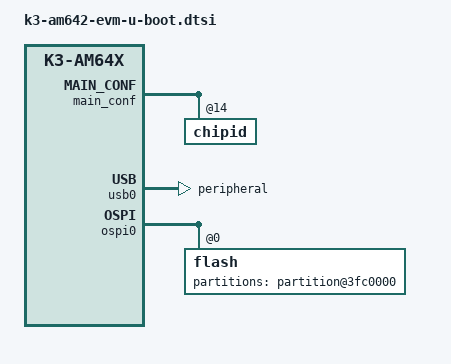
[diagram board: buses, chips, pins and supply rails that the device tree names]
// SPDX-License-Identifier: GPL-2.0
/*
 * Copyright (C) 2020-2021 Texas Instruments Incorporated - https://www.ti.com/
 */

#include "k3-am64x-binman.dtsi"

/ {
	chosen {
		stdout-path = "serial2:115200n8";
		tick-timer = &timer1;
	};

	memory@80000000 {
		bootph-pre-ram;
	};
};

&cbass_main{
	bootph-pre-ram;
	timer1: timer@2400000 {
		compatible = "ti,omap5430-timer";
		reg = <0x0 0x2400000 0x0 0x80>;
		ti,timer-alwon;
		clock-frequency = <200000000>;
		bootph-pre-ram;
	};
};

&main_conf {
	bootph-pre-ram;
	chipid@14 {
		bootph-pre-ram;
	};
};

&main_pmx0 {
	bootph-pre-ram;
};

&main_i2c0_pins_default {
	bootph-pre-ram;
};

&main_i2c0 {
	bootph-pre-ram;
};

&tca9554 {
	bootph-pre-ram;
};

&main_uart0 {
	bootph-pre-ram;
};

&usb0 {
	dr_mode="peripheral";
	bootph-pre-ram;
};

&usbss0 {
	bootph-pre-ram;
};

&main_mmc1_pins_default {
	bootph-pre-ram;
};

&main_usb0_pins_default {
	bootph-pre-ram;
};

&dmss {
	bootph-pre-ram;
};

&secure_proxy_main {
	bootph-pre-ram;
};

&dmsc {
	bootph-pre-ram;
	k3_sysreset: sysreset-controller {
		compatible = "ti,sci-sysreset";
		bootph-pre-ram;
	};
};

&k3_pds {
	bootph-pre-ram;
};

&k3_clks {
	bootph-pre-ram;
};

&k3_reset {
	bootph-pre-ram;
};

&sdhci0 {
	bootph-pre-ram;
};

&sdhci1 {
	bootph-pre-ram;
};

&cpsw3g {
	reg = <0x0 0x8000000 0x0 0x200000>,
	      <0x0 0x43000200 0x0 0x8>;
	reg-names = "cpsw_nuss", "mac_efuse";
	/delete-property/ ranges;
	pinctrl-0 = <&mdio1_pins_default	/* HACK: as MDIO driver is not DM enabled */
		     &rgmii1_pins_default
		     &rgmii2_pins_default>;

	cpsw-phy-sel@04044 {
		compatible = "ti,am64-phy-gmii-sel";
		reg = <0x0 0x43004044 0x0 0x8>;
	};
};

&cpsw_port2 {
	status = "disabled";
};

&main_bcdma {
	bootph-pre-ram;
	reg = <0x00 0x485c0100 0x00 0x100>,
	      <0x00 0x4c000000 0x00 0x20000>,
	      <0x00 0x4a820000 0x00 0x20000>,
	      <0x00 0x4aa40000 0x00 0x20000>,
	      <0x00 0x4bc00000 0x00 0x100000>,
	      <0x00 0x48600000 0x00 0x8000>,
	      <0x00 0x484a4000 0x00 0x2000>,
	      <0x00 0x484c2000 0x00 0x2000>;
	reg-names = "gcfg", "bchanrt", "rchanrt", "tchanrt", "ringrt",
		    "cfg", "tchan", "rchan";
};

&main_pktdma {
	bootph-pre-ram;
	reg = <0x00 0x485c0000 0x00 0x100>,
	      <0x00 0x4a800000 0x00 0x20000>,
	      <0x00 0x4aa00000 0x00 0x40000>,
	      <0x00 0x4b800000 0x00 0x400000>,
	      <0x00 0x485e0000 0x00 0x20000>,
	      <0x00 0x484a0000 0x00 0x4000>,
	      <0x00 0x484c0000 0x00 0x2000>,
	      <0x00 0x48430000 0x00 0x4000>;
	reg-names = "gcfg", "rchanrt", "tchanrt", "ringrt", "cfg",
		    "tchan", "rchan", "rflow";
};

&ospi0_pins_default {
	bootph-pre-ram;
};

&fss {
	bootph-pre-ram;
};

&ospi0 {
	bootph-pre-ram;

	flash@0 {
		bootph-pre-ram;

		partitions {
			bootph-pre-ram;
			#address-cells = <1>;
			#size-cells = <1>;

			partition@3fc0000 {
				bootph-pre-ram;
				reg = <0x3fc0000 0x40000>;
			};
		};
	};
};

&gpmc0 {
	bootph-pre-ram;
};

&elm0 {
	bootph-pre-ram;
};

&main_gpio0 {
	bootph-pre-ram;
};
